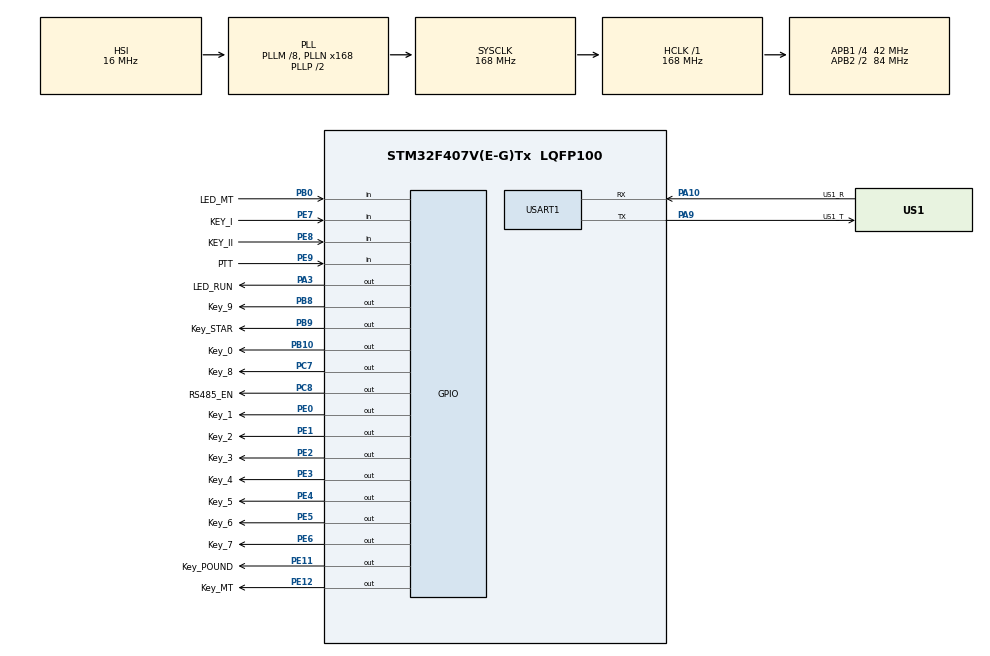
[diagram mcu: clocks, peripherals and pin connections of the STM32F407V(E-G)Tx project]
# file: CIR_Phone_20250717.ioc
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Dma.Request0=USART1_RX
Dma.Request1=USART1_TX
Dma.USART1_RX.0.Direction=DMA_PERIPH_TO_MEMORY
Dma.USART1_RX.0.FIFOMode=DMA_FIFOMODE_DISABLE
Dma.USART1_RX.0.Instance=DMA2_Stream2
Dma.USART1_RX.0.MemDataAlignment=DMA_MDATAALIGN_BYTE
Dma.USART1_RX.0.MemInc=DMA_MINC_ENABLE
Dma.USART1_RX.0.Mode=DMA_NORMAL
Dma.USART1_RX.0.PeriphDataAlignment=DMA_PDATAALIGN_BYTE
Dma.USART1_RX.0.PeriphInc=DMA_PINC_DISABLE
Dma.USART1_RX.0.Priority=DMA_PRIORITY_LOW
Dma.USART1_TX.1.Direction=DMA_MEMORY_TO_PERIPH
Dma.USART1_TX.1.FIFOMode=DMA_FIFOMODE_DISABLE
Dma.USART1_TX.1.Instance=DMA2_Stream7
Dma.USART1_TX.1.MemDataAlignment=DMA_MDATAALIGN_BYTE
Dma.USART1_TX.1.MemInc=DMA_MINC_ENABLE
Dma.USART1_TX.1.Mode=DMA_NORMAL
Dma.USART1_TX.1.PeriphDataAlignment=DMA_PDATAALIGN_BYTE
Dma.USART1_TX.1.PeriphInc=DMA_PINC_DISABLE
Dma.USART1_TX.1.Priority=DMA_PRIORITY_LOW
FREERTOS.Tasks01=defaultTask,0,128,StartDefaultTask,Default,NULL,Dynamic,NULL,NULL
Mcu.Family=STM32F4
Mcu.Name=STM32F407V(E-G)Tx
Mcu.Package=LQFP100
NVIC.DMA2_Stream2_IRQn=true\:5\:0\:false\:false\:true\:true\:false\:true\:true
NVIC.DMA2_Stream7_IRQn=true\:5\:0\:false\:false\:true\:true\:false\:true\:true
NVIC.PriorityGroup=NVIC_PRIORITYGROUP_4
NVIC.TIM1_UP_TIM10_IRQn=true\:15\:0\:false\:false\:true\:false\:false\:true\:true
NVIC.TimeBase=TIM1_UP_TIM10_IRQn
NVIC.TimeBaseIP=TIM1
NVIC.USART1_IRQn=true\:5\:0\:false\:false\:true\:true\:true\:true\:true
PA10.GPIO_Label=US1_R
PA10.Mode=Asynchronous
PA10.Signal=USART1_RX
PA13.Mode=Serial_Wire
PA13.Signal=SYS_JTMS-SWDIO
PA14.Mode=Serial_Wire
PA14.Signal=SYS_JTCK-SWCLK
PA3.GPIO_Label=LED_RUN
PA3.Signal=GPIO_Output
PA9.GPIO_Label=US1_T
PA9.Mode=Asynchronous
PA9.Signal=USART1_TX
PB0.GPIO_Label=LED_MT
PB0.Signal=GPIO_Input
PB10.GPIO_Label=Key_0
PB10.GPIO_PuPd=GPIO_PULLDOWN
PB10.GPIO_Speed=GPIO_SPEED_FREQ_HIGH
PB10.PinState=GPIO_PIN_SET
PB10.Signal=GPIO_Output
PB8.GPIO_Label=Key_9
PB8.GPIO_PuPd=GPIO_PULLDOWN
PB8.GPIO_Speed=GPIO_SPEED_FREQ_HIGH
PB8.PinState=GPIO_PIN_SET
PB8.Signal=GPIO_Output
PB9.GPIO_Label=Key_STAR
PB9.GPIO_PuPd=GPIO_PULLDOWN
PB9.GPIO_Speed=GPIO_SPEED_FREQ_HIGH
PB9.PinState=GPIO_PIN_SET
PB9.Signal=GPIO_Output
PC7.GPIO_Label=Key_8
PC7.GPIO_PuPd=GPIO_PULLDOWN
PC7.GPIO_Speed=GPIO_SPEED_FREQ_HIGH
PC7.PinState=GPIO_PIN_SET
PC7.Signal=GPIO_Output
PC8.GPIO_Label=RS485_EN
PC8.PinState=GPIO_PIN_RESET
PC8.Signal=GPIO_Output
PE0.GPIO_Label=Key_1
PE0.GPIO_PuPd=GPIO_PULLDOWN
PE0.GPIO_Speed=GPIO_SPEED_FREQ_HIGH
PE0.PinState=GPIO_PIN_SET
PE0.Signal=GPIO_Output
PE1.GPIO_Label=Key_2
PE1.GPIO_PuPd=GPIO_PULLDOWN
PE1.GPIO_Speed=GPIO_SPEED_FREQ_HIGH
PE1.PinState=GPIO_PIN_SET
PE1.Signal=GPIO_Output
PE11.GPIO_Label=Key_POUND
PE11.GPIO_PuPd=GPIO_PULLDOWN
PE11.GPIO_Speed=GPIO_SPEED_FREQ_HIGH
PE11.PinState=GPIO_PIN_SET
PE11.Signal=GPIO_Output
PE12.GPIO_Label=Key_MT
PE12.GPIO_PuPd=GPIO_PULLDOWN
PE12.GPIO_Speed=GPIO_SPEED_FREQ_HIGH
PE12.PinState=GPIO_PIN_SET
PE12.Signal=GPIO_Output
PE2.GPIO_Label=Key_3
PE2.GPIO_PuPd=GPIO_PULLDOWN
PE2.GPIO_Speed=GPIO_SPEED_FREQ_HIGH
PE2.PinState=GPIO_PIN_SET
PE2.Signal=GPIO_Output
PE3.GPIO_Label=Key_4
PE3.GPIO_PuPd=GPIO_PULLDOWN
PE3.GPIO_Speed=GPIO_SPEED_FREQ_HIGH
PE3.PinState=GPIO_PIN_SET
PE3.Signal=GPIO_Output
PE4.GPIO_Label=Key_5
PE4.GPIO_PuPd=GPIO_PULLDOWN
PE4.GPIO_Speed=GPIO_SPEED_FREQ_HIGH
PE4.PinState=GPIO_PIN_SET
PE4.Signal=GPIO_Output
PE5.GPIO_Label=Key_6
PE5.GPIO_PuPd=GPIO_PULLDOWN
PE5.GPIO_Speed=GPIO_SPEED_FREQ_HIGH
PE5.PinState=GPIO_PIN_SET
PE5.Signal=GPIO_Output
PE6.GPIO_Label=Key_7
PE6.GPIO_PuPd=GPIO_PULLDOWN
PE6.GPIO_Speed=GPIO_SPEED_FREQ_HIGH
PE6.PinState=GPIO_PIN_SET
PE6.Signal=GPIO_Output
PE7.GPIO_Label=KEY_I
PE7.GPIO_PuPd=GPIO_PULLDOWN
PE7.Signal=GPIO_Input
PE8.GPIO_Label=KEY_II
PE8.GPIO_PuPd=GPIO_PULLDOWN
PE8.Signal=GPIO_Input
PE9.GPIO_Label=PTT
PE9.GPIO_PuPd=GPIO_PULLDOWN
PE9.Signal=GPIO_Input
PH0-OSC_IN.Mode=HSE-External-Oscillator
PH0-OSC_IN.Signal=RCC_OSC_IN
PH1-OSC_OUT.Mode=HSE-External-Oscillator
PH1-OSC_OUT.Signal=RCC_OSC_OUT
ProjectManager.HeapSize=0x200
ProjectManager.StackSize=0x400
ProjectManager.TargetToolchain=MDK-ARM V5
RCC.48MHZClocksFreq_Value=84000000
RCC.AHBFreq_Value=168000000
RCC.APB1CLKDivider=RCC_HCLK_DIV4
RCC.APB1Freq_Value=42000000
RCC.APB1TimFreq_Value=84000000
RCC.APB2CLKDivider=RCC_HCLK_DIV2
RCC.APB2Freq_Value=84000000
RCC.APB2TimFreq_Value=168000000
RCC.CortexFreq_Value=168000000
RCC.HCLKFreq_Value=168000000
RCC.HSE_VALUE=25000000
RCC.HSI_VALUE=16000000
RCC.LSE_VALUE=32768
RCC.PLLM=8
RCC.PLLN=168
RCC.SYSCLKFreq_VALUE=168000000
RCC.SYSCLKSource=RCC_SYSCLKSOURCE_PLLCLK
RCC.VCOOutputFreq_Value=336000000
USART1.VirtualMode=VM_ASYNC
VP_FREERTOS_VS_CMSIS_V1.Mode=CMSIS_V1
VP_SYS_VS_tim1.Mode=TIM1
board=custom

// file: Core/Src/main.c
/* USER CODE BEGIN Header */
/**
  ******************************************************************************
  * @file           : main.c
  * @brief          : Main program body
  ******************************************************************************
  * @attention
  *
  * Copyright (c) 2025 STMicroelectronics.
  * All rights reserved.
  *
  * This software is licensed under terms that can be found in the LICENSE file
  * in the root directory of this software component.
  * If no LICENSE file comes with this software, it is provided AS-IS.
  *
  ******************************************************************************
  */
/* USER CODE END Header */
#include "main.h"
#include "cmsis_os.h"
#include "dma.h"
#include "usart.h"
#include "gpio.h"

/* USER CODE BEGIN Includes */
#include "rs485.h"
/* USER CODE END Includes */

void SystemClock_Config(void);
void MX_FREERTOS_Init(void);

int main(void)
{

  /* MCU Configuration--------------------------------------------------------*/

  /* Reset of all peripherals, Initializes the Flash interface and the Systick. */
  HAL_Init();

  /* Configure the system clock */
  SystemClock_Config();

  /* Initialize all configured peripherals */
  MX_GPIO_Init();
  MX_DMA_Init();
  MX_USART1_UART_Init();

  /* Call init function for freertos objects (in cmsis_os2.c) */
  MX_FREERTOS_Init();

  /* Start scheduler */
  osKernelStart();

  /* We should never get here as control is now taken by the scheduler */

  /* Infinite loop */
  while (1)
  {

  }
}

void SystemClock_Config(void)
{
  RCC_OscInitTypeDef RCC_OscInitStruct = {0};
  RCC_ClkInitTypeDef RCC_ClkInitStruct = {0};

  /** Configure the main internal regulator output voltage
  */
  __HAL_RCC_PWR_CLK_ENABLE();
  __HAL_PWR_VOLTAGESCALING_CONFIG(PWR_REGULATOR_VOLTAGE_SCALE1);

  /** Initializes the RCC Oscillators according to the specified parameters
  * in the RCC_OscInitTypeDef structure.
  */
  RCC_OscInitStruct.OscillatorType = RCC_OSCILLATORTYPE_HSI;
  RCC_OscInitStruct.HSIState = RCC_HSI_ON;
  RCC_OscInitStruct.HSICalibrationValue = RCC_HSICALIBRATION_DEFAULT;
  RCC_OscInitStruct.PLL.PLLState = RCC_PLL_ON;
  RCC_OscInitStruct.PLL.PLLSource = RCC_PLLSOURCE_HSI;
  RCC_OscInitStruct.PLL.PLLM = 8;
  RCC_OscInitStruct.PLL.PLLN = 168;
  RCC_OscInitStruct.PLL.PLLP = RCC_PLLP_DIV2;
  RCC_OscInitStruct.PLL.PLLQ = 4;
  if (HAL_RCC_OscConfig(&RCC_OscInitStruct) != HAL_OK)
  {
    Error_Handler();
  }

  /** Initializes the CPU, AHB and APB buses clocks
  */
  RCC_ClkInitStruct.ClockType = RCC_CLOCKTYPE_HCLK|RCC_CLOCKTYPE_SYSCLK
                              |RCC_CLOCKTYPE_PCLK1|RCC_CLOCKTYPE_PCLK2;
  RCC_ClkInitStruct.SYSCLKSource = RCC_SYSCLKSOURCE_PLLCLK;
  RCC_ClkInitStruct.AHBCLKDivider = RCC_SYSCLK_DIV1;
  RCC_ClkInitStruct.APB1CLKDivider = RCC_HCLK_DIV4;
  RCC_ClkInitStruct.APB2CLKDivider = RCC_HCLK_DIV2;

  if (HAL_RCC_ClockConfig(&RCC_ClkInitStruct, FLASH_LATENCY_5) != HAL_OK)
  {
    Error_Handler();
  }
}

void HAL_TIM_PeriodElapsedCallback(TIM_HandleTypeDef *htim)
{
  if (htim->Instance == TIM1)
  {
    HAL_IncTick();
  }
}

void Error_Handler(void)
{
  __disable_irq();
  while (1)
  {
  }
}

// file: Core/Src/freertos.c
/* USER CODE BEGIN Header */
/**
  ******************************************************************************
  * File Name          : freertos.c
  * Description        : Code for freertos applications
  ******************************************************************************
  * @attention
  *
  * Copyright (c) 2025 STMicroelectronics.
  * All rights reserved.
  *
  * This software is licensed under terms that can be found in the LICENSE file
  * in the root directory of this software component.
  * If no LICENSE file comes with this software, it is provided AS-IS.
  *
  ******************************************************************************
  */
/* USER CODE END Header */

#include "FreeRTOS.h"
#include "task.h"
#include "main.h"
#include "cmsis_os.h"

/* USER CODE BEGIN Includes */
#include "rs485.h"
#include "key.h"

uint8_t KEYPRES;
/* USER CODE END Includes */

/* USER CODE BEGIN PTD */
/* START_TASK 任务 配置
 * 包括: 任务句柄 任务优先级 堆栈大小 创建任务
 */
#define START_TASK_PRIO         1           /* 任务优先级 */
#define START_TASK_STACK_SIZE   128         /* 任务堆栈大小 */
TaskHandle_t    start_task_handler;         /* 任务句柄 */
void start_task( void * pvParameters );     /* 任务函数 */

/* TASK1 任务 用来通信
 * 包括: 任务句柄 任务优先级 堆栈大小 创建任务
 */
#define TASK1_PRIO         2                /* 任务优先级 */
#define TASK1_STACK_SIZE   128              /* 任务堆栈大小 */
TaskHandle_t    task1_handler;              /* 任务句柄 */
void task1( void * pvParameters );          /* 任务函数 */

/* TASK2 任务 LED_RUN
 * 包括: 任务句柄 任务优先级 堆栈大小 创建任务
 */
#define TASK2_PRIO         3                /* 任务优先级 */
#define TASK2_STACK_SIZE   128              /* 任务堆栈大小 */
TaskHandle_t    task2_handler;              /* 任务句柄 */
void task2( void * pvParameters );          /* 任务函数 */

/* USER CODE END PTD */

/* USER CODE BEGIN Variables */
#if 0
/* USER CODE END Variables */
osThreadId defaultTaskHandle;

/* USER CODE BEGIN FunctionPrototypes */
// 在 void StartDefaultTask(void const * argument); 下一行添加 #endif
/* USER CODE END FunctionPrototypes */

void StartDefaultTask(void const * argument);
#endif
void MX_FREERTOS_Init(void); /* (MISRA C 2004 rule 8.1) */

/* GetIdleTaskMemory prototype (linked to static allocation support) */
void vApplicationGetIdleTaskMemory( StaticTask_t **ppxIdleTaskTCBBuffer, StackType_t **ppxIdleTaskStackBuffer, uint32_t *pulIdleTaskStackSize );

/* USER CODE BEGIN GET_IDLE_TASK_MEMORY */
static StaticTask_t xIdleTaskTCBBuffer;
static StackType_t xIdleStack[configMINIMAL_STACK_SIZE];

void vApplicationGetIdleTaskMemory( StaticTask_t **ppxIdleTaskTCBBuffer, StackType_t **ppxIdleTaskStackBuffer, uint32_t *pulIdleTaskStackSize )
{
  *ppxIdleTaskTCBBuffer = &xIdleTaskTCBBuffer;
  *ppxIdleTaskStackBuffer = &xIdleStack[0];
  *pulIdleTaskStackSize = configMINIMAL_STACK_SIZE;
  /* place for user code */
}
/* USER CODE END GET_IDLE_TASK_MEMORY */

void MX_FREERTOS_Init(void) {

  /* USER CODE BEGIN RTOS_QUEUES */
  /* add queues, ... */
#if 0
  /* USER CODE END RTOS_QUEUES */

  /* Create the thread(s) */
  /* definition and creation of defaultTask */
  osThreadDef(defaultTask, StartDefaultTask, osPriorityNormal, 0, 128);
  defaultTaskHandle = osThreadCreate(osThread(defaultTask), NULL);

  /* USER CODE BEGIN RTOS_THREADS */
  /* add threads, ... */
#endif
    xTaskCreate((TaskFunction_t )   start_task,
        (char *                 )   "start_task",
        (configSTACK_DEPTH_TYPE )   START_TASK_STACK_SIZE,
        (void *                 )   NULL,
        (UBaseType_t            )   START_TASK_PRIO,
        (TaskHandle_t *         )   &start_task_handler );
  /* USER CODE END RTOS_THREADS */

}

/* USER CODE BEGIN Header_StartDefaultTask */
#if 0
/**
  * @brief  Function implementing the defaultTask thread.
  * @param  argument: Not used
  * @retval None
  */
/* USER CODE END Header_StartDefaultTask */
void StartDefaultTask(void const * argument)
{
  for(;;)
  {
    osDelay(1);
  }
}

/* USER CODE BEGIN Application */
#endif
void start_task( void * pvParameters )
{
    taskENTER_CRITICAL();               /* 进入临界区 */

    xTaskCreate((TaskFunction_t         )   task1,
                (char *                 )   "task1",
                (configSTACK_DEPTH_TYPE )   TASK1_STACK_SIZE,
                (void *                 )   NULL,
                (UBaseType_t            )   TASK1_PRIO,
                (TaskHandle_t *         )   &task1_handler );

    xTaskCreate((TaskFunction_t         )   task2,
                (char *                 )   "task2",
                (configSTACK_DEPTH_TYPE )   TASK2_STACK_SIZE,
                (void *                 )   NULL,
                (UBaseType_t            )   TASK2_PRIO,
                (TaskHandle_t *         )   &task2_handler );
    vTaskDelete(start_task_handler);
    taskEXIT_CRITICAL();                /* 退出临界区 */
}

void task1( void * pvParameters )
{
    while(1)
    {
        modbus_service();     //从机
        Cir_Dialing_Text();
        KEYPRES = key_scan(1);
        vTaskDelay(1000);
    }
}

void task2( void * pvParameters )
{
    while(1)
    {
        HAL_GPIO_TogglePin(LED_RUN_GPIO_Port,LED_RUN_Pin);
        vTaskDelay(1000);
    }
}

/* USER CODE END Application */
